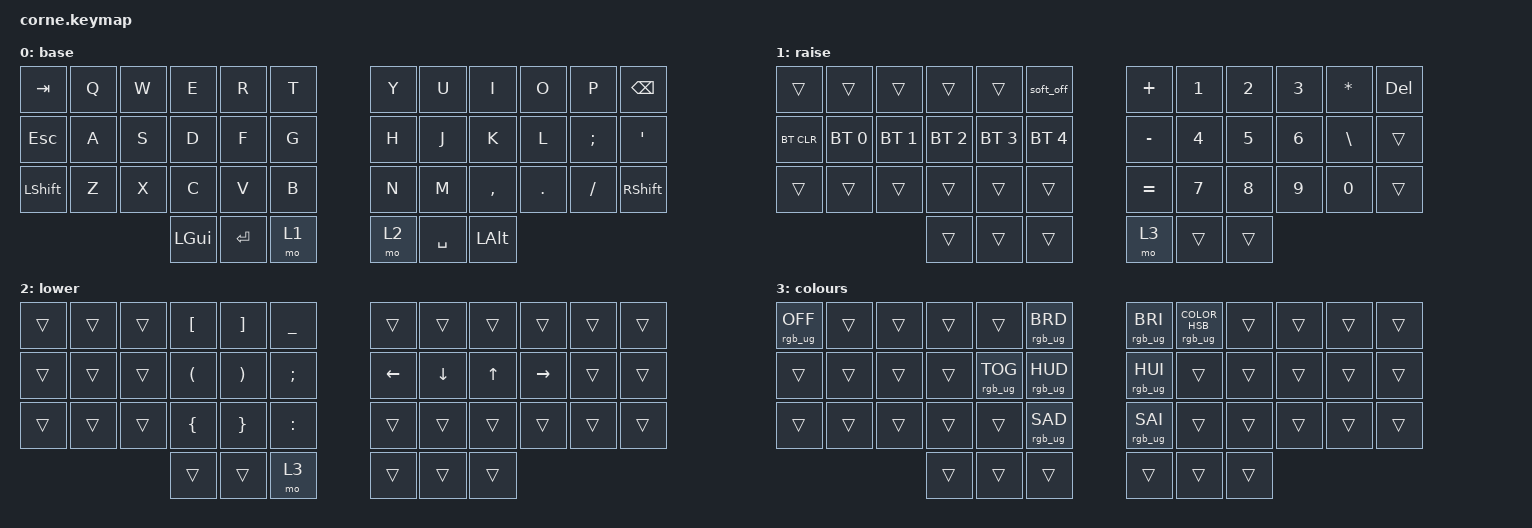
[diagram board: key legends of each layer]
#include <behaviors.dtsi>
#include <dt-bindings/zmk/bt.h>
#include <dt-bindings/zmk/keys.h>
#include <dt-bindings/zmk/rgb.h>

&led_strip { chain-length = <27>; };

/ {
    keymap {
        compatible = "zmk,keymap";

        base {
            bindings = <
&kp TAB    &kp Q  &kp W  &kp E     &kp R      &kp T    &kp Y  &kp U      &kp I      &kp O    &kp P     &kp BSPC
&kp ESC    &kp A  &kp S  &kp D     &kp F      &kp G    &kp H  &kp J      &kp K      &kp L    &kp SEMI  &kp APOS
&kp LSHFT  &kp Z  &kp X  &kp C     &kp V      &kp B    &kp N  &kp M      &kp COMMA  &kp DOT  &kp FSLH  &kp RSHFT
                         &kp LGUI  &kp ENTER  &mo 1    &mo 2  &kp SPACE  &kp LALT
            >;
        };

        raise {
            bindings = <
&trans      &trans        &trans        &trans        &trans        &soft_off       &kp PLUS   &kp N1  &kp N2  &kp N3  &kp ASTRK      &kp DEL
&bt BT_CLR  &bt BT_SEL 0  &bt BT_SEL 1  &bt BT_SEL 2  &bt BT_SEL 3  &bt BT_SEL 4    &kp MINUS  &kp N4  &kp N5  &kp N6  &kp BACKSLASH  &trans
&trans      &trans        &trans        &trans        &trans        &trans          &kp EQUAL  &kp N7  &kp N8  &kp N9  &kp N0         &trans
                                        &trans        &trans        &trans          &mo 3      &trans  &trans
            >;
        };

        lower {
            bindings = <
&trans  &trans  &trans  &kp LEFT_BRACKET      &kp RIGHT_BRACKET      &kp UNDER        &trans    &trans    &trans        &trans     &trans  &trans
&trans  &trans  &trans  &kp LEFT_PARENTHESIS  &kp RIGHT_PARENTHESIS  &kp SEMICOLON    &kp LEFT  &kp DOWN  &kp UP_ARROW  &kp RIGHT  &trans  &trans
&trans  &trans  &trans  &kp LEFT_BRACE        &kp RIGHT_BRACE        &kp COLON        &trans    &trans    &trans        &trans     &trans  &trans
                        &trans                &trans                 &mo 3            &trans    &trans    &trans
            >;
        };

        colours {
            bindings = <
&rgb_ug RGB_OFF  &trans  &trans  &trans  &trans           &rgb_ug RGB_BRD    &rgb_ug RGB_BRI  &rgb_ug RGB_COLOR_HSB(124,38,52)  &trans  &trans  &trans  &trans
&trans           &trans  &trans  &trans  &rgb_ug RGB_TOG  &rgb_ug RGB_HUD    &rgb_ug RGB_HUI  &trans                            &trans  &trans  &trans  &trans
&trans           &trans  &trans  &trans  &trans           &rgb_ug RGB_SAD    &rgb_ug RGB_SAI  &trans                            &trans  &trans  &trans  &trans
                                 &trans  &trans           &trans             &trans           &trans                            &trans
            >;
        };
    };
};

